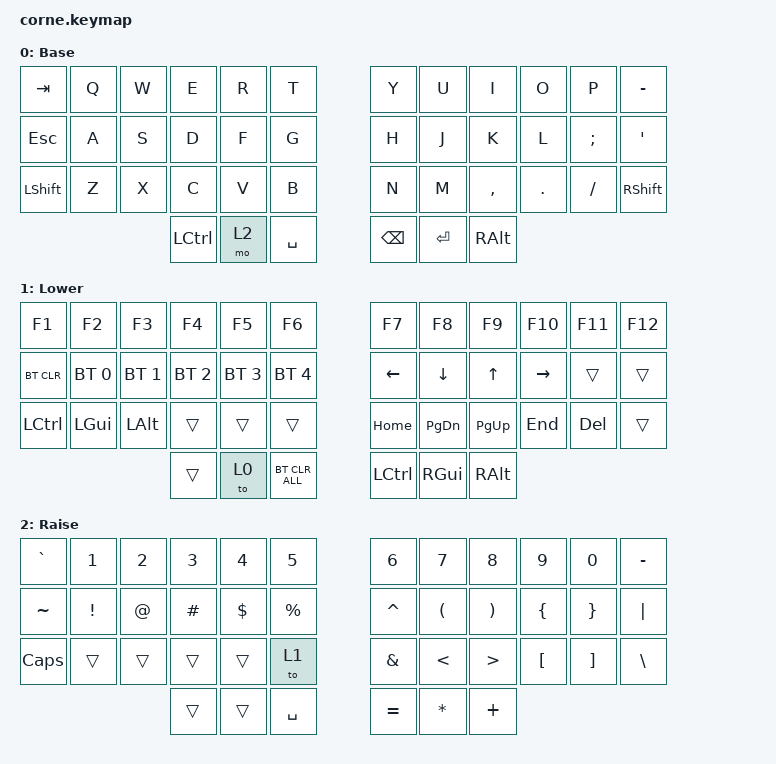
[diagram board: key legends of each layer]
/*
 * Copyright (c) 2020 The ZMK Contributors
 *
 * SPDX-License-Identifier: MIT
 */

#include <behaviors.dtsi>
#include <dt-bindings/zmk/bt.h>
#include <dt-bindings/zmk/keys.h>

&mt { flavor = "tap-preferred"; };

/ {
    behaviors {
        new_behavior: new_behavior {
            compatible = "zmk,behavior-hold-tap";
            label = "NEW_BEHAVIOR";
            bindings = <&kp>, <&kp>;

            #binding-cells = <2>;
            flavor = "tap-preferred";
            tapping-term-ms = <150>;
            quick-tap-ms = <100>;
        };
    };

    keymap {
        compatible = "zmk,keymap";

        default_layer {
            // -----------------------------------------------------------------------------------------
            // |  TAB |  Q  |  W  |  E  |  R  |  T  |   |  Y  |  U   |  I  |  O  |  P  | BKSP |
            // | CTRL |  A  |  S  |  D  |  F  |  G  |   |  H  |  J   |  K  |  L  |  ;  |  '   |
            // | SHFT |  Z  |  X  |  C  |  V  |  B  |   |  N  |  M   |  ,  |  .  |  /  | ESC  |
            //                    | GUI | LWR | SPC |   | ENT | RSE  | ALT |

            display-name = "Base";
            bindings = <
&kp TAB         &kp Q  &kp W  &kp E      &kp R  &kp T        &kp Y          &kp U      &kp I          &kp O    &kp P     &kp MINUS
&kp ESCAPE      &kp A  &kp S  &kp D      &kp F  &kp G        &kp H          &kp J      &kp K          &kp L    &kp SEMI  &kp SQT
&kp LEFT_SHIFT  &kp Z  &kp X  &kp C      &kp V  &kp B        &kp N          &kp M      &kp COMMA      &kp DOT  &kp FSLH  &kp RIGHT_SHIFT
                              &kp LCTRL  &mo 2  &kp SPACE    &kp BACKSPACE  &kp ENTER  &kp RIGHT_ALT
            >;
        };

        lower_layer {
            // -----------------------------------------------------------------------------------------
            // |  TAB |  1  |  2  |  3  |  4  |  5  |   |  6  |  7  |  8  |  9  |  0  | BKSP |
            // | BTCLR| BT1 | BT2 | BT3 | BT4 | BT5 |   | LFT | DWN |  UP | RGT |     |      |
            // | SHFT |     |     |     |     |     |   |     |     |     |     |     |      |
            //                    | GUI |     | SPC |   | ENT |     | ALT |

            display-name = "Lower";
            bindings = <
&kp F1      &kp F2        &kp F3        &kp F4        &kp F5        &kp F6            &kp F7     &kp F8         &kp F9     &kp F10    &kp F11  &kp F12
&bt BT_CLR  &bt BT_SEL 0  &bt BT_SEL 1  &bt BT_SEL 2  &bt BT_SEL 3  &bt BT_SEL 4      &kp LEFT   &kp DOWN       &kp UP     &kp RIGHT  &trans   &trans
&kp LCTRL   &kp LEFT_GUI  &kp LEFT_ALT  &trans        &trans        &trans            &kp HOME   &kp PAGE_DOWN  &kp PG_UP  &kp END    &kp DEL  &trans
                                        &trans        &to 0         &bt BT_CLR_ALL    &kp LCTRL  &kp RIGHT_GUI  &kp RALT
            >;
        };

        raise_layer {
            // -----------------------------------------------------------------------------------------
            // |  TAB |  !  |  @  |  #  |  $  |  %  |   |  ^  |  &  |  *  |  (  |  )  | BKSP |
            // | CTRL |     |     |     |     |     |   |  -  |  =  |  [  |  ]  |  \  |  `   |
            // | SHFT |     |     |     |     |     |   |  _  |  +  |  {  |  }  | "|" |  ~   |
            //                    | GUI |     | SPC |   | ENT |     | ALT |

            display-name = "Raise";
            bindings = <
&kp GRAVE  &kp NUMBER_1     &kp NUMBER_2  &kp NUMBER_3  &kp NUMBER_4  &kp N5         &kp NUMBER_6  &kp N7                &kp N8                 &kp N9            &kp N0             &kp MINUS
&kp TILDE  &kp EXCLAMATION  &kp AT_SIGN   &kp HASH      &kp DOLLAR    &kp PERCENT    &kp CARET     &kp LEFT_PARENTHESIS  &kp RIGHT_PARENTHESIS  &kp LEFT_BRACE    &kp RIGHT_BRACE    &kp PIPE
&kp CAPS   &trans           &trans        &trans        &trans        &to 1          &kp AMPS      &kp LESS_THAN         &kp GREATER_THAN       &kp LEFT_BRACKET  &kp RIGHT_BRACKET  &kp BACKSLASH
                                          &trans        &trans        &kp SPACE      &kp EQUAL     &kp ASTERISK          &kp PLUS
            >;
        };
    };
};
